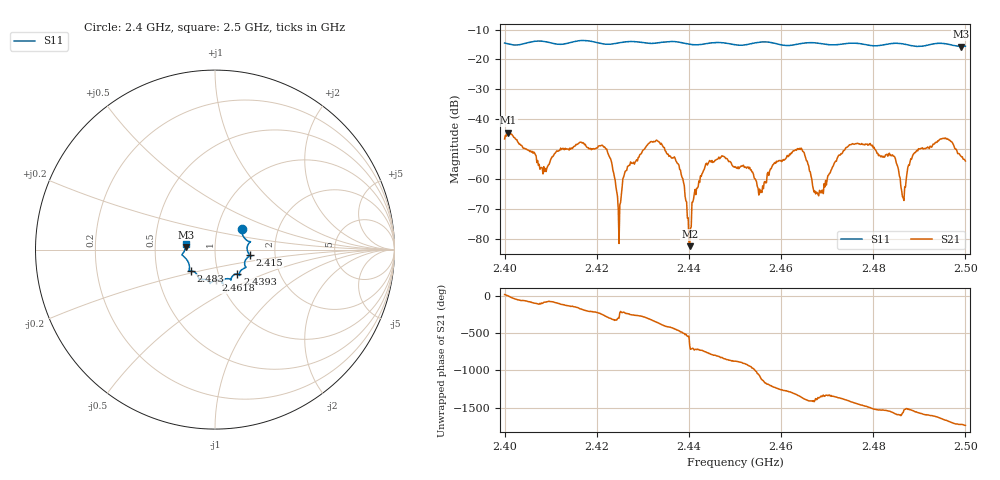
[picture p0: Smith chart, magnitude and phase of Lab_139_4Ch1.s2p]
# Hz S RI R 50
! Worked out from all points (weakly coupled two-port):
!   601 points, 2.4 GHz to 2.5 GHz, reference 50 ohm
!   highest |S21| = -44.53 dB at 2.4008 GHz (marker M1); lowest = -82.5 dB at 2.4402 GHz (marker M2)
!   lowest |S11| = -15.7 dB at 2.499 GHz (marker M3), VSWR 1.39, Z = 35.9 + j1.13 ohm
!   |S11| at or under -10 dB: start of sweep to end of sweep
!   S12 and S22 are empty: the file has one direction only
!   S11 on the Smith chart (normalised r, x): 2.4 GHz: 1.31, +0.31; 2.415 GHz: 1.48, -0.10; 2.4393 GHz: 1.23, -0.35; 2.4618 GHz: 0.95, -0.34; 2.483 GHz: 0.74, -0.18; 2.5 GHz: 0.72, +0.05
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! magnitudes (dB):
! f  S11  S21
! 2.4 GHz  -14.5  -46.6
! 2.4008 GHz  -14.8  -44.5
! 2.4085 GHz  -14.0  -55.9
! 2.415 GHz  -14.1  -49.2
! 2.4167 GHz  -13.7  -47.7
! 2.4222 GHz  -14.9  -50.0
! 2.4248 GHz  -14.4  -81.6
! 2.4268 GHz  -14.0  -55.7
! 2.4333 GHz  -14.4  -47.4
! 2.4393 GHz  -14.7  -67.3
! 2.4402 GHz  -14.9  -82.5
! 2.444 GHz  -14.7  -55.3
! 2.45 GHz  -15.1  -55.9
! 2.4557 GHz  -14.2  -63.9
! 2.4618 GHz  -15.3  -51.7
! 2.4667 GHz  -14.4  -60.1
! 2.483 GHz  -14.9  -51.7
! 2.4833 GHz  -14.8  -51.8
! 2.4865 GHz  -14.8  -66.3
! 2.4898 GHz  -15.7  -49.9
! 2.499 GHz  -15.7  -52.3
! 2.5 GHz  -15.6  -54.0
